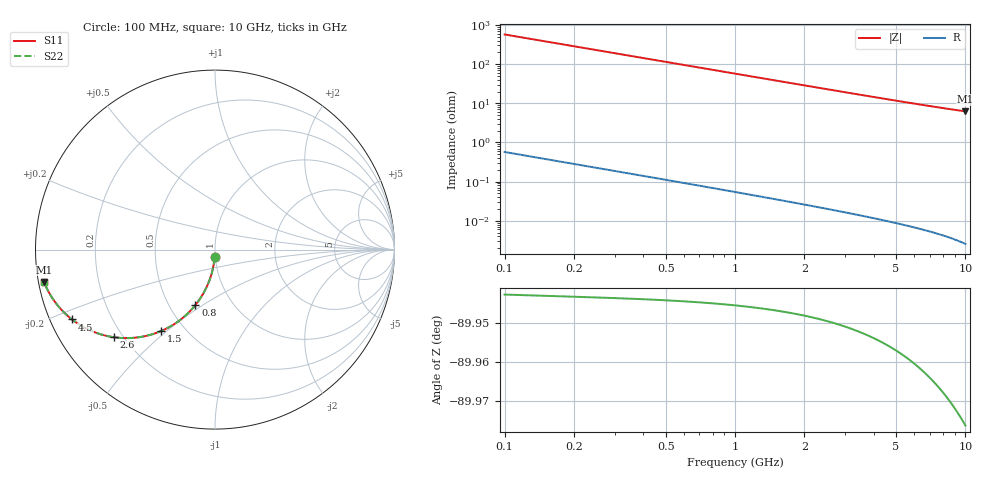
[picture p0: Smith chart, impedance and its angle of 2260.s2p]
# Hz S RI R 50.00
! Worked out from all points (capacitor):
!   100 points, 100 MHz to 10 GHz, reference 50 ohm
!   read as one part in shunt: C = 2.78 pF near 100 MHz
!   lowest |Z| = 6.23 ohm at 10 GHz (marker M1)
!   S11 on the Smith chart (normalised r, x): 100 MHz: 0.99, -0.09; 800 MHz: 0.67, -0.47; 1.5 GHz: 0.37, -0.48; 2.6 GHz: 0.17, -0.36; 4.5 GHz: 0.06, -0.23; 10 GHz: 0.02, -0.09
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1e8  -0.00181 -0.0433  0.9979 -0.0439  0.9979 -0.0439  -0.00181 -0.0433
2e8  -0.00753 -0.0862  0.9922 -0.0873  0.9922 -0.0873  -0.00753 -0.0862
3e8  -0.0169 -0.128  0.9828 -0.1297  0.9828 -0.1297  -0.0169 -0.128
4e8  -0.0297 -0.1684  0.9701 -0.1706  0.9701 -0.1706  -0.0297 -0.1684
5e8  -0.0456 -0.2071  0.9541 -0.2098  0.9541 -0.2098  -0.0456 -0.2071
6e8  -0.0644 -0.2436  0.9353 -0.2469  0.9353 -0.2469  -0.0644 -0.2436
8e8  -0.109 -0.3091  0.8907 -0.3135  0.8907 -0.3135  -0.109 -0.3091
9e8  -0.1341 -0.3379  0.8656 -0.3429  0.8656 -0.3429  -0.1341 -0.3379
1.1e9  -0.1879 -0.3872  0.8118 -0.3933  0.8118 -0.3933  -0.1879 -0.3872
1.3e9  -0.2442 -0.4256  0.7555 -0.4328  0.7555 -0.4328  -0.2442 -0.4256
1.5e9  -0.3008 -0.454  0.6989 -0.4623  0.6989 -0.4623  -0.3008 -0.454
1.8e9  -0.3826 -0.4806  0.617 -0.4905  0.617 -0.4905  -0.3826 -0.4806
2.2e9  -0.4809 -0.493  0.5187 -0.5052  0.5187 -0.5052  -0.4809 -0.493
2.6e9  -0.5643 -0.4881  0.4353 -0.5025  0.4353 -0.5025  -0.5643 -0.4881
3e9  -0.6332 -0.473  0.3664 -0.4897  0.3664 -0.4897  -0.6332 -0.473
3.4e9  -0.6895 -0.4526  0.31 -0.4715  0.31 -0.4715  -0.6895 -0.4526
3.9e9  -0.7454 -0.4241  0.2541 -0.4458  0.2541 -0.4458  -0.7454 -0.4241
4.5e9  -0.7963 -0.3894  0.2031 -0.4146  0.2031 -0.4146  -0.7963 -0.3894
5.1e9  -0.8343 -0.3566  0.1649 -0.3852  0.1649 -0.3852  -0.8343 -0.3566
6.7e9  -0.8978 -0.2827  0.1012 -0.3207  0.1012 -0.3207  -0.8978 -0.2827
8.4e9  -0.9333 -0.2235  0.0652 -0.2718  0.0652 -0.2718  -0.9333 -0.2235
1e10  -0.9525 -0.1806  0.0454 -0.239  0.0454 -0.239  -0.9525 -0.1806
